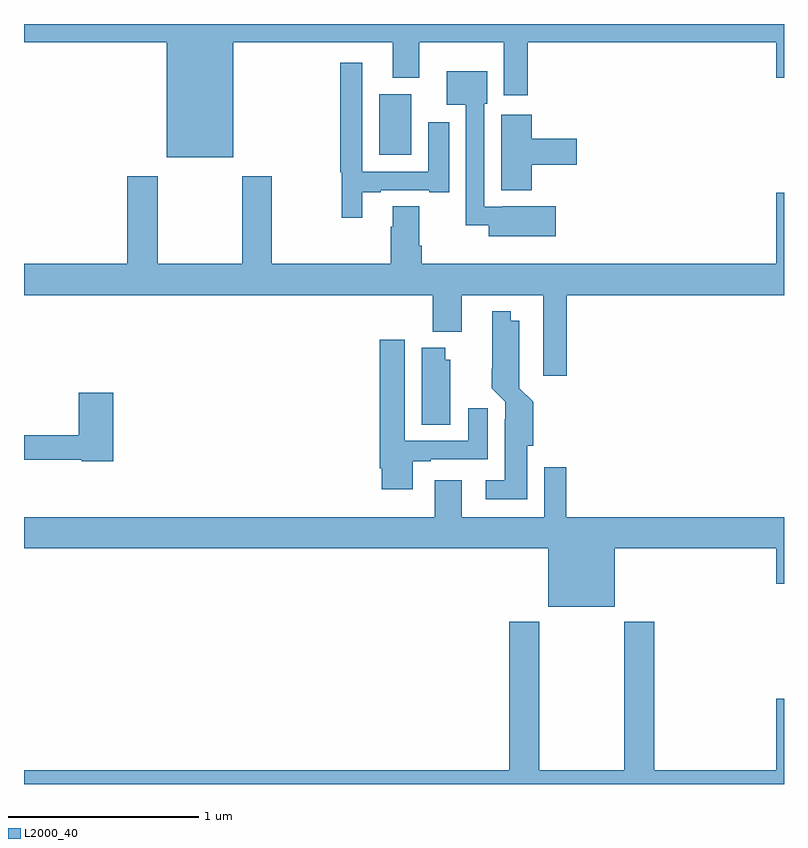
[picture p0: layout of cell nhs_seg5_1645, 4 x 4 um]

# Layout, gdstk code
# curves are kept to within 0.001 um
import gdstk
lib = gdstk.Library(unit=1e-6, precision=1e-09)
def R(c, l, rs):  # rectangles x0, y0, x1, y1
    for r in rs: c.add(gdstk.rectangle(r[:2], r[2:], *l))
def P(c, l, *ps):  # polygons
    for p in ps: c.add(gdstk.Polygon(p, *l))
L2000_40 = (2000, 40)

nhs_seg5_1645 = lib.new_cell('nhs_seg5_1645')
R(nhs_seg5_1645, L2000_40, [(210.869,912.11,211.039,912.43)])
P(nhs_seg5_1645, L2000_40, [(209,912.704),(209.75,912.704),(209.75,912.098),(210.1,912.098),(210.1,912.704),(210.941,912.704),(210.941,912.515),(211.081,912.515),(211.081,912.704),(211.526,912.704),(211.526,912.423),(211.652,912.423),(211.652,912.704),(212.96,912.704),(212.96,912.516),(213,912.516),(213,912.799),(209,912.799)],
  [(210.781,911.913),(210.877,911.913),(210.877,911.925),(211.133,911.925),(211.133,911.913),(211.237,911.913),(211.237,912.283),(211.127,912.283),(211.127,912.021),(210.78,912.021),(210.78,912.595),(210.664,912.595),(210.664,912.018),(210.672,912.018),(210.672,911.778),(210.781,911.778)],
  [(211.798,911.839),(211.519,911.839),(211.519,911.838),(211.422,911.838),(211.422,912.378),(211.438,912.378),(211.438,912.55),(211.226,912.55),(211.226,912.374),(211.326,912.374),(211.326,911.741),(211.445,911.741),(211.445,911.681),(211.798,911.681)],
  [(211.673,912.059),(211.909,912.059),(211.909,912.194),(211.673,912.194),(211.673,912.322),(211.511,912.322),(211.511,911.924),(211.673,911.924)],
  [(211.094,911.632),(211.081,911.632),(211.081,911.84),(210.941,911.84),(210.941,911.732),(210.929,911.732),(210.929,911.536),(210.303,911.536),(210.303,911.998),(210.148,911.998),(210.148,911.536),(209.703,911.536),(209.703,911.998),(209.543,911.998),(209.543,911.536),(209,911.536),(209,911.372),(211.151,911.372),(211.151,911.18),(211.303,911.18),(211.303,911.372),(211.733,911.372),(211.733,910.947),(211.856,910.947),(211.856,911.372),(213,911.372),(213,911.911),(212.96,911.911),(212.96,911.536),(211.094,911.536)],
  [(211.648,910.578),(211.679,910.578),(211.679,910.81),(211.607,910.882),(211.606,911.236),(211.561,911.236),(211.561,911.287),(211.464,911.287),(211.463,910.882),(211.533,910.812),(211.533,910.718),(211.529,910.718),(211.529,910.399),(211.431,910.399),(211.431,910.298),(211.648,910.298)],
  [(211.045,910.497),(211.141,910.497),(211.141,910.509),(211.441,910.509),(211.441,910.777),(211.337,910.777),(211.337,910.605),(211.003,910.605),(211.003,911.137),(210.872,911.137),(210.872,910.462),(210.884,910.462),(210.884,910.35),(211.045,910.35)],
  [(211.243,911.031),(211.216,911.031),(211.216,911.095),(211.094,911.095),(211.094,910.69),(211.243,910.69)],
  [(209.471,910.858),(209.288,910.858),(209.288,910.634),(209,910.634),(209,910.506),(209.304,910.506),(209.304,910.498),(209.471,910.498)],
  [(212.11,910.04),(212.96,910.04),(212.96,909.852),(213,909.852),(213,910.204),(211.853,910.204),(211.853,910.465),(211.737,910.465),(211.737,910.204),(211.303,910.204),(211.303,910.399),(211.163,910.399),(211.163,910.204),(209,910.204),(209,910.04),(211.76,910.04),(211.76,909.731),(212.11,909.731)],
  [(213,909.247),(212.96,909.247),(212.96,908.872),(212.318,908.872),(212.318,909.652),(212.158,909.652),(212.158,908.872),(211.713,908.872),(211.713,909.652),(211.553,909.652),(211.553,908.872),(209,908.872),(209,908.799),(213,908.799)])

lib.write_gds('nhs_seg5_1645.gds')
